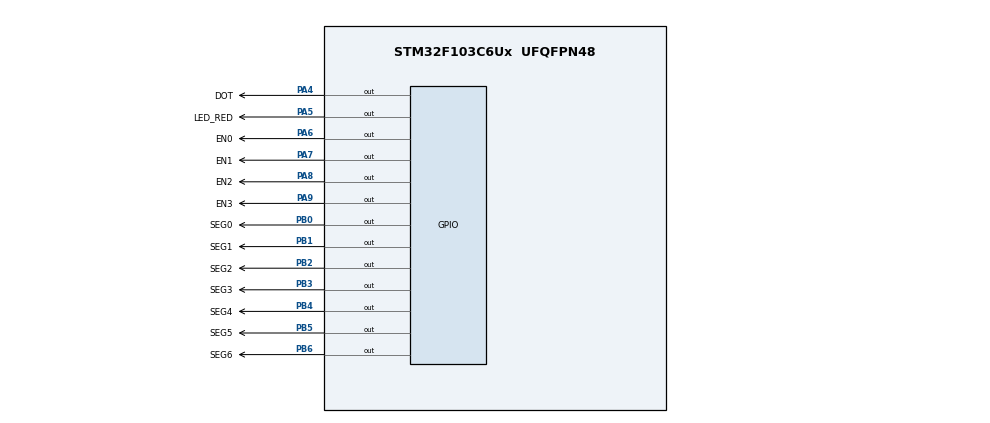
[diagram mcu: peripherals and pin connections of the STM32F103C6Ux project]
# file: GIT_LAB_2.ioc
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Mcu.Family=STM32F1
Mcu.Name=STM32F103C6Ux
Mcu.Package=UFQFPN48
NVIC.PriorityGroup=NVIC_PRIORITYGROUP_4
NVIC.TIM2_IRQn=true\:0\:0\:false\:false\:true\:true\:true
PA4.GPIO_Label=DOT
PA4.Signal=GPIO_Output
PA5.GPIO_Label=LED_RED
PA5.Signal=GPIO_Output
PA6.GPIO_Label=EN0
PA6.Signal=GPIO_Output
PA7.GPIO_Label=EN1
PA7.Signal=GPIO_Output
PA8.GPIO_Label=EN2
PA8.Signal=GPIO_Output
PA9.GPIO_Label=EN3
PA9.Signal=GPIO_Output
PB0.GPIO_Label=SEG0
PB0.Signal=GPIO_Output
PB1.GPIO_Label=SEG1
PB1.Signal=GPIO_Output
PB2.GPIO_Label=SEG2
PB2.Signal=GPIO_Output
PB3.GPIO_Label=SEG3
PB3.Signal=GPIO_Output
PB4.GPIO_Label=SEG4
PB4.Signal=GPIO_Output
PB5.GPIO_Label=SEG5
PB5.Signal=GPIO_Output
PB6.GPIO_Label=SEG6
PB6.Signal=GPIO_Output
ProjectManager.HeapSize=0x200
ProjectManager.StackSize=0x400
ProjectManager.TargetToolchain=STM32CubeIDE
RCC.APB1Freq_Value=8000000
RCC.APB2Freq_Value=8000000
TIM2.Period=9
TIM2.Prescaler=7999
VP_SYS_VS_ND.Mode=No_Debug
VP_TIM2_VS_ClockSourceINT.Mode=Internal
board=custom

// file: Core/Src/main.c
/* USER CODE BEGIN Header */
/**
  ******************************************************************************
  * @file           : main.c
  * @brief          : Main program body
  ******************************************************************************
  * @attention
  *
  * <h2><center>&copy; Copyright (c) 2023 STMicroelectronics.
  * All rights reserved.</center></h2>
  *
  * This software component is licensed by ST under BSD 3-Clause license,
  * the "License"; You may not use this file except in compliance with the
  * License. You may obtain a copy of the License at:
  *                        opensource.org/licenses/BSD-3-Clause
  *
  ******************************************************************************
  */
/* USER CODE END Header */
#include "main.h"

TIM_HandleTypeDef htim2;

void SystemClock_Config(void);
static void MX_GPIO_Init(void);
static void MX_TIM2_Init(void);

/* USER CODE BEGIN 0 */
void display7SEG(int num){
	if(num == 0){
			HAL_GPIO_WritePin(SEG0_GPIO_Port, SEG0_Pin, RESET);
			HAL_GPIO_WritePin(SEG1_GPIO_Port, SEG1_Pin, RESET);
			HAL_GPIO_WritePin(SEG2_GPIO_Port, SEG2_Pin, RESET);
			HAL_GPIO_WritePin(SEG3_GPIO_Port, SEG3_Pin, RESET);
			HAL_GPIO_WritePin(SEG4_GPIO_Port, SEG4_Pin, RESET);
			HAL_GPIO_WritePin(SEG5_GPIO_Port, SEG5_Pin, RESET);
			HAL_GPIO_WritePin(SEG6_GPIO_Port, SEG6_Pin, SET);
		}
		else if(num == 1){
			HAL_GPIO_WritePin(SEG0_GPIO_Port, SEG0_Pin, SET);
			HAL_GPIO_WritePin(SEG1_GPIO_Port, SEG1_Pin, RESET);
			HAL_GPIO_WritePin(SEG2_GPIO_Port, SEG2_Pin, RESET);
			HAL_GPIO_WritePin(SEG3_GPIO_Port, SEG3_Pin, SET);
			HAL_GPIO_WritePin(SEG4_GPIO_Port, SEG4_Pin, SET);
			HAL_GPIO_WritePin(SEG5_GPIO_Port, SEG5_Pin, SET);
			HAL_GPIO_WritePin(SEG6_GPIO_Port, SEG6_Pin, SET);
		}
		else if(num == 2){
			HAL_GPIO_WritePin(SEG0_GPIO_Port, SEG0_Pin, RESET);
			HAL_GPIO_WritePin(SEG1_GPIO_Port, SEG1_Pin, RESET);
			HAL_GPIO_WritePin(SEG2_GPIO_Port, SEG2_Pin, SET);
			HAL_GPIO_WritePin(SEG3_GPIO_Port, SEG3_Pin, RESET);
			HAL_GPIO_WritePin(SEG4_GPIO_Port, SEG4_Pin, RESET);
			HAL_GPIO_WritePin(SEG5_GPIO_Port, SEG5_Pin, SET);
			HAL_GPIO_WritePin(SEG6_GPIO_Port, SEG6_Pin, RESET);
		}
		else if(num == 3){
			HAL_GPIO_WritePin(SEG0_GPIO_Port, SEG0_Pin, RESET);
			HAL_GPIO_WritePin(SEG1_GPIO_Port, SEG1_Pin, RESET);
			HAL_GPIO_WritePin(SEG2_GPIO_Port, SEG2_Pin, RESET);
			HAL_GPIO_WritePin(SEG3_GPIO_Port, SEG3_Pin, RESET);
			HAL_GPIO_WritePin(SEG4_GPIO_Port, SEG4_Pin, SET);
			HAL_GPIO_WritePin(SEG5_GPIO_Port, SEG5_Pin, SET);
			HAL_GPIO_WritePin(SEG6_GPIO_Port, SEG6_Pin, RESET);
		}
		else if(num == 4){
			HAL_GPIO_WritePin(SEG0_GPIO_Port, SEG0_Pin, SET);
			HAL_GPIO_WritePin(SEG1_GPIO_Port, SEG1_Pin, RESET);
			HAL_GPIO_WritePin(SEG2_GPIO_Port, SEG2_Pin, RESET);
			HAL_GPIO_WritePin(SEG3_GPIO_Port, SEG3_Pin, SET);
			HAL_GPIO_WritePin(SEG4_GPIO_Port, SEG4_Pin, SET);
			HAL_GPIO_WritePin(SEG5_GPIO_Port, SEG5_Pin, RESET);
			HAL_GPIO_WritePin(SEG6_GPIO_Port, SEG6_Pin, RESET);
		}
		else if(num == 5){
			HAL_GPIO_WritePin(SEG0_GPIO_Port, SEG0_Pin, RESET);
			HAL_GPIO_WritePin(SEG1_GPIO_Port, SEG1_Pin, SET);
			HAL_GPIO_WritePin(SEG2_GPIO_Port, SEG2_Pin, RESET);
			HAL_GPIO_WritePin(SEG3_GPIO_Port, SEG3_Pin, RESET);
			HAL_GPIO_WritePin(SEG4_GPIO_Port, SEG4_Pin, SET);
			HAL_GPIO_WritePin(SEG5_GPIO_Port, SEG5_Pin, RESET);
			HAL_GPIO_WritePin(SEG6_GPIO_Port, SEG6_Pin, RESET);
		}
		else if(num == 6){
			HAL_GPIO_WritePin(SEG0_GPIO_Port, SEG0_Pin, RESET);
			HAL_GPIO_WritePin(SEG1_GPIO_Port, SEG1_Pin, SET);
			HAL_GPIO_WritePin(SEG2_GPIO_Port, SEG2_Pin, RESET);
			HAL_GPIO_WritePin(SEG3_GPIO_Port, SEG3_Pin, RESET);
			HAL_GPIO_WritePin(SEG4_GPIO_Port, SEG4_Pin, RESET);
			HAL_GPIO_WritePin(SEG5_GPIO_Port, SEG5_Pin, RESET);
			HAL_GPIO_WritePin(SEG6_GPIO_Port, SEG6_Pin, RESET);
		}
		else if(num == 7){
			HAL_GPIO_WritePin(SEG0_GPIO_Port, SEG0_Pin, RESET);
			HAL_GPIO_WritePin(SEG1_GPIO_Port, SEG1_Pin, RESET);
			HAL_GPIO_WritePin(SEG2_GPIO_Port, SEG2_Pin, RESET);
			HAL_GPIO_WritePin(SEG3_GPIO_Port, SEG3_Pin, SET);
			HAL_GPIO_WritePin(SEG4_GPIO_Port, SEG4_Pin, SET);
			HAL_GPIO_WritePin(SEG5_GPIO_Port, SEG5_Pin, SET);
			HAL_GPIO_WritePin(SEG6_GPIO_Port, SEG6_Pin, SET);
		}
		else if(num == 8){
			HAL_GPIO_WritePin(SEG0_GPIO_Port, SEG0_Pin, RESET);
			HAL_GPIO_WritePin(SEG1_GPIO_Port, SEG1_Pin, RESET);
			HAL_GPIO_WritePin(SEG2_GPIO_Port, SEG2_Pin, RESET);
			HAL_GPIO_WritePin(SEG3_GPIO_Port, SEG3_Pin, RESET);
			HAL_GPIO_WritePin(SEG4_GPIO_Port, SEG4_Pin, RESET);
			HAL_GPIO_WritePin(SEG5_GPIO_Port, SEG5_Pin, RESET);
			HAL_GPIO_WritePin(SEG6_GPIO_Port, SEG6_Pin, RESET);
		}
		else if(num == 9){
			HAL_GPIO_WritePin(SEG0_GPIO_Port, SEG0_Pin, RESET);
			HAL_GPIO_WritePin(SEG1_GPIO_Port, SEG1_Pin, RESET);
			HAL_GPIO_WritePin(SEG2_GPIO_Port, SEG2_Pin, RESET);
			HAL_GPIO_WritePin(SEG3_GPIO_Port, SEG3_Pin, RESET);
			HAL_GPIO_WritePin(SEG4_GPIO_Port, SEG4_Pin, SET);
			HAL_GPIO_WritePin(SEG5_GPIO_Port, SEG5_Pin, RESET);
			HAL_GPIO_WritePin(SEG6_GPIO_Port, SEG6_Pin, RESET);
		}
}
/* USER CODE END 0 */

int main(void)
{

  /* MCU Configuration--------------------------------------------------------*/

  /* Reset of all peripherals, Initializes the Flash interface and the Systick. */
  HAL_Init();

  /* Configure the system clock */
  SystemClock_Config();

  /* Initialize all configured peripherals */
  MX_GPIO_Init();
  MX_TIM2_Init();
  /* USER CODE BEGIN 2 */
  HAL_TIM_Base_Start_IT (& htim2 ) ;
  /* USER CODE END 2 */
  	HAL_GPIO_TogglePin(SEG0_GPIO_Port, SEG0_Pin);
    HAL_GPIO_TogglePin(SEG1_GPIO_Port, SEG1_Pin);
    HAL_GPIO_TogglePin(SEG2_GPIO_Port, SEG2_Pin);
    HAL_GPIO_TogglePin(SEG3_GPIO_Port, SEG3_Pin);
    HAL_GPIO_TogglePin(SEG4_GPIO_Port, SEG4_Pin);
    HAL_GPIO_TogglePin(SEG5_GPIO_Port, SEG5_Pin);
    HAL_GPIO_TogglePin(SEG6_GPIO_Port, SEG6_Pin);
  /* Infinite loop */
  while (1)
  {

  }
}

void SystemClock_Config(void)
{
  RCC_OscInitTypeDef RCC_OscInitStruct = {0};
  RCC_ClkInitTypeDef RCC_ClkInitStruct = {0};

  /** Initializes the RCC Oscillators according to the specified parameters
  * in the RCC_OscInitTypeDef structure.
  */
  RCC_OscInitStruct.OscillatorType = RCC_OSCILLATORTYPE_HSI;
  RCC_OscInitStruct.HSIState = RCC_HSI_ON;
  RCC_OscInitStruct.HSICalibrationValue = RCC_HSICALIBRATION_DEFAULT;
  RCC_OscInitStruct.PLL.PLLState = RCC_PLL_NONE;
  if (HAL_RCC_OscConfig(&RCC_OscInitStruct) != HAL_OK)
  {
    Error_Handler();
  }
  /** Initializes the CPU, AHB and APB buses clocks
  */
  RCC_ClkInitStruct.ClockType = RCC_CLOCKTYPE_HCLK|RCC_CLOCKTYPE_SYSCLK
                              |RCC_CLOCKTYPE_PCLK1|RCC_CLOCKTYPE_PCLK2;
  RCC_ClkInitStruct.SYSCLKSource = RCC_SYSCLKSOURCE_HSI;
  RCC_ClkInitStruct.AHBCLKDivider = RCC_SYSCLK_DIV1;
  RCC_ClkInitStruct.APB1CLKDivider = RCC_HCLK_DIV1;
  RCC_ClkInitStruct.APB2CLKDivider = RCC_HCLK_DIV1;

  if (HAL_RCC_ClockConfig(&RCC_ClkInitStruct, FLASH_LATENCY_0) != HAL_OK)
  {
    Error_Handler();
  }
}

static void MX_TIM2_Init(void)
{

  TIM_ClockConfigTypeDef sClockSourceConfig = {0};
  TIM_MasterConfigTypeDef sMasterConfig = {0};

  htim2.Instance = TIM2;
  htim2.Init.Prescaler = 7999;
  htim2.Init.CounterMode = TIM_COUNTERMODE_UP;
  htim2.Init.Period = 9;
  htim2.Init.ClockDivision = TIM_CLOCKDIVISION_DIV1;
  htim2.Init.AutoReloadPreload = TIM_AUTORELOAD_PRELOAD_DISABLE;
  if (HAL_TIM_Base_Init(&htim2) != HAL_OK)
  {
    Error_Handler();
  }
  sClockSourceConfig.ClockSource = TIM_CLOCKSOURCE_INTERNAL;
  if (HAL_TIM_ConfigClockSource(&htim2, &sClockSourceConfig) != HAL_OK)
  {
    Error_Handler();
  }
  sMasterConfig.MasterOutputTrigger = TIM_TRGO_RESET;
  sMasterConfig.MasterSlaveMode = TIM_MASTERSLAVEMODE_DISABLE;
  if (HAL_TIMEx_MasterConfigSynchronization(&htim2, &sMasterConfig) != HAL_OK)
  {
    Error_Handler();
  }

}

static void MX_GPIO_Init(void)
{
  GPIO_InitTypeDef GPIO_InitStruct = {0};

  /* GPIO Ports Clock Enable */
  __HAL_RCC_GPIOA_CLK_ENABLE();
  __HAL_RCC_GPIOB_CLK_ENABLE();

  /*Configure GPIO pin Output Level */
  HAL_GPIO_WritePin(GPIOA, LED_RED_Pin|EN0_Pin|EN1_Pin, GPIO_PIN_RESET);

  /*Configure GPIO pin Output Level */
  HAL_GPIO_WritePin(GPIOB, SEG0_Pin|SEG1_Pin|SEG2_Pin|SEG3_Pin
                          |SEG4_Pin|SEG5_Pin|SEG6_Pin, GPIO_PIN_RESET);

  /*Configure GPIO pins : LED_RED_Pin EN0_Pin EN1_Pin */
  GPIO_InitStruct.Pin = LED_RED_Pin|EN0_Pin|EN1_Pin;
  GPIO_InitStruct.Mode = GPIO_MODE_OUTPUT_PP;
  GPIO_InitStruct.Pull = GPIO_NOPULL;
  GPIO_InitStruct.Speed = GPIO_SPEED_FREQ_LOW;
  HAL_GPIO_Init(GPIOA, &GPIO_InitStruct);

  /*Configure GPIO pins : SEG0_Pin SEG1_Pin SEG2_Pin SEG3_Pin
                           SEG4_Pin SEG5_Pin SEG6_Pin */
  GPIO_InitStruct.Pin = SEG0_Pin|SEG1_Pin|SEG2_Pin|SEG3_Pin
                          |SEG4_Pin|SEG5_Pin|SEG6_Pin;
  GPIO_InitStruct.Mode = GPIO_MODE_OUTPUT_PP;
  GPIO_InitStruct.Pull = GPIO_NOPULL;
  GPIO_InitStruct.Speed = GPIO_SPEED_FREQ_LOW;
  HAL_GPIO_Init(GPIOB, &GPIO_InitStruct);

}

/* USER CODE BEGIN 4 */
int counter = 50;
int status=0;
void HAL_TIM_PeriodElapsedCallback ( TIM_HandleTypeDef * htim ){
	counter --;
	if( counter <= 0) {
		counter = 50;
		HAL_GPIO_TogglePin ( LED_RED_GPIO_Port , LED_RED_Pin ) ;
		switch(status){
			case 0:
				HAL_GPIO_WritePin(EN0_GPIO_Port, EN0_Pin, RESET);
				HAL_GPIO_WritePin(EN1_GPIO_Port, EN1_Pin, SET);
				display7SEG(1);
				status=1;
				break;
			case 1:
				HAL_GPIO_WritePin(EN0_GPIO_Port, EN0_Pin, SET);
				HAL_GPIO_WritePin(EN1_GPIO_Port, EN1_Pin, RESET);
				display7SEG(2);
				status=0;
				break;
	}

	}
}
/* USER CODE END 4 */

void Error_Handler(void)
{
  __disable_irq();
  while (1)
  {
  }
}

/************************ (C) COPYRIGHT STMicroelectronics *****END OF FILE****/
